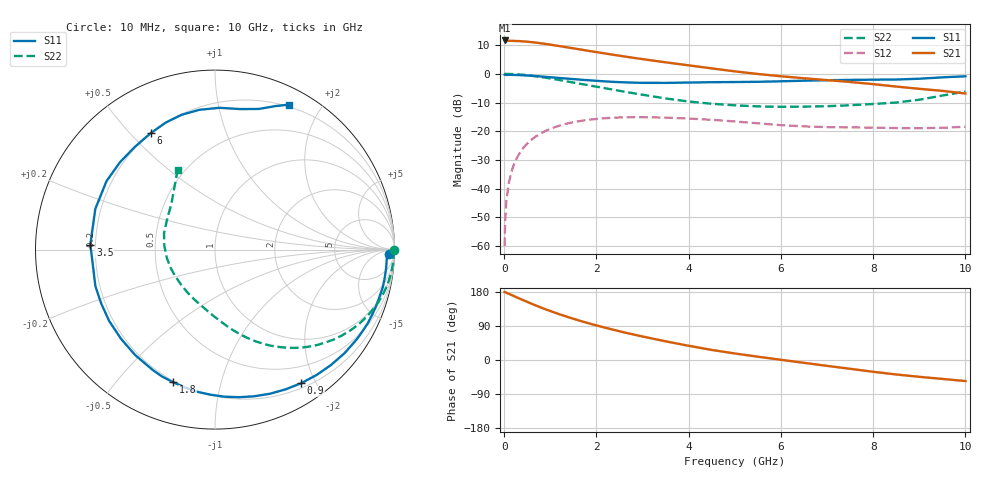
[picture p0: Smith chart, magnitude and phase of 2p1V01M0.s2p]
! (c) 2009  Infineon Technologies AG, Munich
! Infineon Technologies  Discrete & RF Semiconductors
! BFP420
! VCE =  1.0 V,  IC =  1.0 mA
! Common Emitter S-Parameters:  Nov 2009
# GHz  S  MA  R  50
!  f  S11  S21  S12  S22
! GHz  MAG  ANG  MAG  ANG  MAG  ANG  MAG  ANG
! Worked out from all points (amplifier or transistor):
!   46 points, 10 MHz to 10 GHz, reference 50 ohm
!   highest |S21| = 11.6 dB at 10 MHz (marker M1)
!   |S21| within 3 dB of that: start of sweep to 1.597 GHz
!   unconditionally stable (mu >= 1): 4.352 GHz to end of sweep
!   at 300 MHz: K = 0.03, MSG = 20.0 dB, |S12| = -28.6 dB
!   at 1.7 GHz: K = 0.30, MSG = 12.3 dB, |S12| = -16.3 dB
!   at 10 GHz: K = 1.34, MAG = 2.3 dB, |S12| = -18.4 dB
!   lowest NFmin = 0.53 dB at 900 MHz
!   S11 on the Smith chart (normalised r, x): 10 MHz: 35, -30; 900 MHz: 0.26, -1.81; 1.8 GHz: 0.19, -0.72; 3.5 GHz: 0.18, +0.02; 6 GHz: 0.20, +0.57; 10 GHz: 0.18, +1.61
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0.01  0.9677 -1.6  3.807 179.3  0.001 102.5  0.996 -0.2
0.02  0.9587 -1.3  3.699 179.3  0.0026 89.2  0.9964 -0.8
0.05  0.9585 -3.2  3.725 177.4  0.0063 87.8  0.9966 -2.0
0.1  0.959 -6.4  3.748 174.8  0.0124 86.5  0.9949 -4.1
0.2  0.958 -12.8  3.742 169.4  0.025 82.1  0.9883 -8.2
0.4  0.9449 -25.7  3.674 158.7  0.0493 73.8  0.9631 -16.1
0.6  0.9241 -38.6  3.553 148.2  0.072 65.8  0.9254 -23.7
0.9  0.8857 -57.2  3.308 133.7  0.1015 54.4  0.8546 -34.0
1.2  0.846 -75.0  3.037 120.6  0.1254 44.1  0.7782 -43.1
1.4  0.821 -86.4  2.859 112.6  0.1381 37.7  0.7289 -48.5
1.7  0.7856 -102.5  2.616 101.5  0.1532 29.1  0.6597 -55.6
1.8  0.7751 -107.5  2.53 98.0  0.157 26.4  0.6385 -57.8
2.2  0.7369 -127.2  2.252 84.9  0.1689 16.4  0.5592 -66.1
2.6  0.7113 -146.0  2.009 72.9  0.1748 7.2  0.4896 -73.8
3  0.6969 -162.9  1.801 62.0  0.1758 -0.7  0.4322 -81.0
3.5  0.6951 177.7  1.585 49.3  0.1726 -9.3  0.3729 -90.7
4.5  0.7147 147.8  1.242 26.6  0.1583 -22.5  0.301 -112.5
5.5  0.7261 127.8  0.993 8.7  0.1375 -30.4  0.2709 -135.0
6  0.7408 119.0  0.907 0.6  0.1279 -31.9  0.2665 -147.2
7  0.7738 103.9  0.776 -15.5  0.118 -32.0  0.273 -171.7
8.5  0.7955 79.8  0.6 -38.2  0.1138 -32.5  0.3161 147.4
10  0.9053 63.1  0.454 -55.5  0.1198 -29.8  0.491 115.1
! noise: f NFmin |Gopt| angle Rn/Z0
0.9  0.53  0.67  34  0.35
1.8  1.15  0.44  77  0.27
2.4  1.28  0.44  100  0.22
3  1.61  0.45  131  0.15
4  1.9  0.47  -177  0.09
5  2.32  0.44  -133  0.45
6  3.43  0.6  -118  0.25
